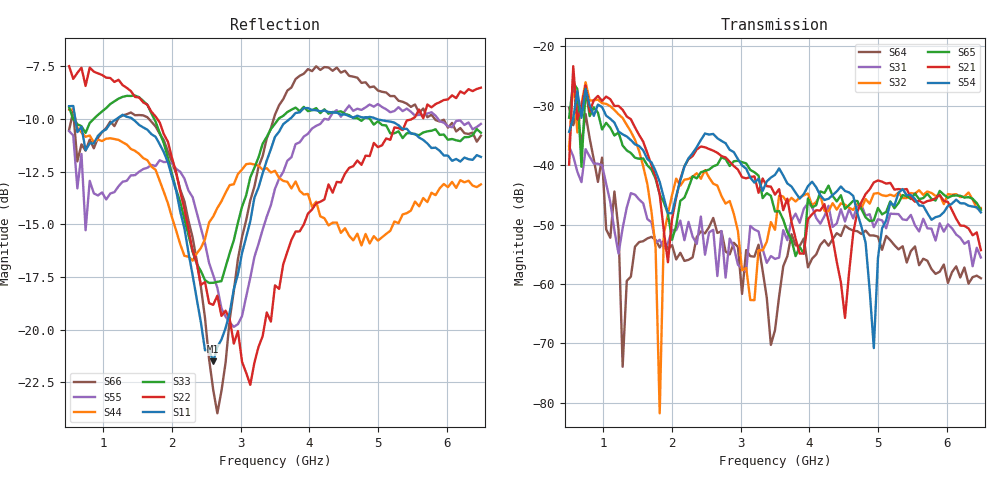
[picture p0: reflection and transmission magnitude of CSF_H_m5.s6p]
!Keysight Technologies,M9804A,MY58100912,A.14.10.03
!Date: Thursday, April 27, 2023 10:28:33
!Correction: S11(C  6-Port  )
!S12(C  6-Port  )
!S13(C  6-Port  )
!S14(C  6-Port  )
!S15(C  6-Port  )
!S16(C  6-Port  )
!S21(C  6-Port  )
!S22(C  6-Port  )
!S23(C  6-Port  )
!S24(C  6-Port  )
!S25(C  6-Port  )
!S26(C  6-Port  )
!S31(C  6-Port  )
!S32(C  6-Port  )
!S33(C  6-Port  )
!S34(C  6-Port  )
!S35(C  6-Port  )
!S36(C  6-Port  )
!S41(C  6-Port  )
!S42(C  6-Port  )
!S43(C  6-Port  )
!S44(C  6-Port  )
!S45(C  6-Port  )
!S46(C  6-Port  )
!S51(C  6-Port  )
!S52(C  6-Port  )
!S53(C  6-Port  )
!S54(C  6-Port  )
!S55(C  6-Port  )
!S56(C  6-Port  )
!S61(C  6-Port  )
!S62(C  6-Port  )
!S63(C  6-Port  )
!S64(C  6-Port  )
!S65(C  6-Port  )
!S66(C  6-Port  )
!S6P File: Measurement: :
# Hz S  RI  R 50
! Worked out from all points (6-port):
!   101 points, 500 MHz to 6.5 GHz, reference 50 ohm
!   strongest paths, dB at 500 MHz, 2 GHz, 3.5 GHz, 5 GHz, 6.5 GHz:
!     S54: -34.4, -48.1, -41.6, -55.6, -48.0
!     S21: -39.9, -49.1, -45.0, -42.6, -54.3
!     S65: -32.0, -52.6, -47.8, -47.2, -47.5
!     S32: -37.3, -45.0, -50.9, -44.7, -47.2
!     S31: -36.9, -50.9, -55.8, -49.1, -55.6
!     S64: -30.3, -53.5, -67.8, -52.0, -59.0
!   lowest |S11| = -21.5 dB at 2.6 GHz (marker M1), VSWR 1.18, Z = 42.5 + j2.19 ohm
!   |S11| at or under -10 dB: 589.7 MHz to 1.192 GHz (601.9 MHz wide, 67.6 % of centre); 1.422 GHz to 3.716 GHz (2.294 GHz wide, 89.3 % of centre); 4.98 GHz to end of sweep
